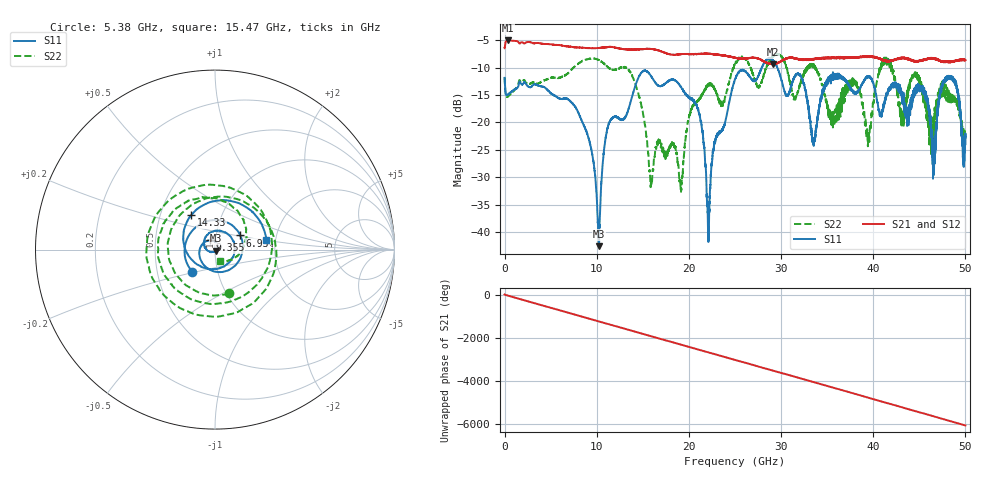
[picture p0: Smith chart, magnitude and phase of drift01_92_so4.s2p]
!Created with skrf (http://scikit-rf.org).
# Hz S RI R 50.0
!freq ReS11 ImS11 ReS21 ImS21 ReS12 ImS12 ReS22 ImS22
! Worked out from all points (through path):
!   10001 points, 300 kHz to 50 GHz, reference 50 ohm
!   highest |S21| = -5.06 dB at 360.3 MHz (marker M1); lowest = -9.4 dB at 29.08 GHz (marker M2)
!   group delay of S21, straight-line fit = 336 ps
!   lowest |S11| = -42.6 dB at 10.23 GHz (marker M3), VSWR 1.02, Z = 50.4 - j0.629 ohm
!   |S11| at or under -10 dB: start of sweep to 27.91 GHz; 29.6 GHz to end of sweep
!   |S22| runs from -32.8 to -7.5 dB; largest |S21 - S12| = 0.013
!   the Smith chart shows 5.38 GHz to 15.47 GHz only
!   S11 on the Smith chart (normalised r, x): 5.38 GHz: 0.76, -0.19; 6.93 GHz: 1.31, +0.21; 9.355 GHz: 0.94, +0.10; 14.33 GHz: 0.72, +0.29; 15.47 GHz: 1.79, +0.20
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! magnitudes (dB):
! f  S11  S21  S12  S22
! 300 kHz  -11.9  -6.5  -6.5  -11.7
! 360.3 MHz  -14.9  -5.1  -5.1  -15.2
! 5.38 GHz  -15.1  -5.9  -5.9  -11.8
! 6.93 GHz  -15.9  -6.2  -6.1  -11.0
! 8.335 GHz  -19.5  -6.4  -6.4  -8.9
! 9.355 GHz  -24.5  -6.5  -6.4  -8.4
! 10.23 GHz  -42.6  -6.4  -6.4  -8.6
! 11.23 GHz  -20.7  -6.2  -6.3  -9.9
! 14.33 GHz  -12.6  -6.7  -6.7  -13.7
! 15.47 GHz  -10.7  -6.6  -6.6  -23.5
! 16.67 GHz  -13.3  -6.9  -6.9  -23.3
! 19.13 GHz  -13.5  -7.6  -7.6  -32.8
! 20.85 GHz  -16.9  -7.5  -7.5  -16.2
! 22.12 GHz  -41.8  -7.5  -7.5  -13.3
! 25 GHz  -12.1  -8.2  -8.2  -9.5
! 29.08 GHz  -8.6  -9.4  -9.4  -8.0
! 33.34 GHz  -22.3  -8.5  -8.5  -9.4
! 39.47 GHz  -11.6  -8.0  -8.0  -22.4
! 41.67 GHz  -13.9  -8.8  -8.7  -8.8
! 46.55 GHz  -26.6  -8.3  -8.3  -20.2
! 48.56 GHz  -12.0  -9.0  -8.9  -15.5
! 50 GHz  -23.9  -8.7  -8.6  -23.0
